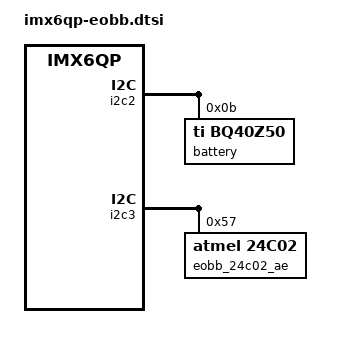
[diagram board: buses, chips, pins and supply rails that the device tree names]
/*
 * Copyright 2022 FLIR Systems.
 *
 * The code contained herein is licensed under the GNU General Public
 * License. You may obtain a copy of the GNU General Public License
 * Version 2 or later at the following locations:
 *
 * http://www.opensource.org/licenses/gpl-license.html
 * http://www.gnu.org/copyleft/gpl.html
 */

#include <dt-bindings/gpio/gpio.h>
#include <dt-bindings/interrupt-controller/irq.h>

&i2c2 {
    /* FUELGAUGE */
    battery: bq40z50@b {
		compatible = "ti,bq40z50";
		reg = <0xb>;
	};
};

/* EEPROM */
&i2c3 {
	eobb_24c02_ae: eobb_24c02_ae@57 {
		compatible = "atmel,24c02";
		reg = <0x57>;
		pagesize = <16>;
	};
};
